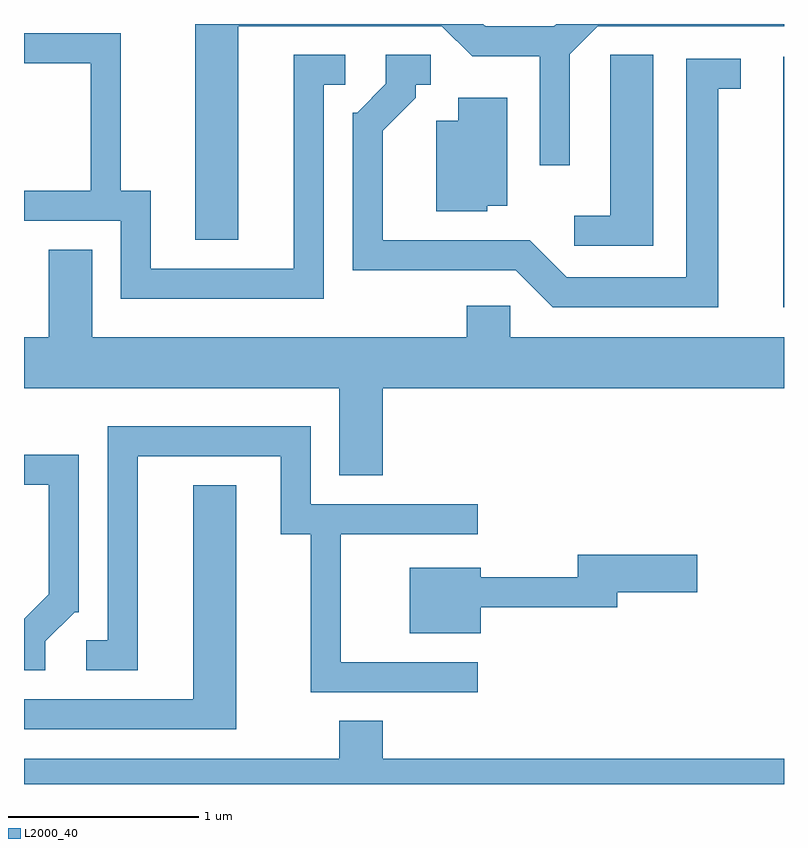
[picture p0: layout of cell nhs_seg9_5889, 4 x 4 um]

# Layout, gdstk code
import gdstk
lib = gdstk.Library(unit=1e-6, precision=1e-09)
def R(c, l, rs):  # rectangles x0, y0, x1, y1
    for r in rs: c.add(gdstk.rectangle(r[:2], r[2:], *l))
def P(c, l, *ps):  # polygons
    for p in ps: c.add(gdstk.Polygon(p, *l))
L2000_40 = (2000, 40)

nhs_seg9_5889 = lib.new_cell('nhs_seg9_5889')
R(nhs_seg9_5889, L2000_40, [(363.606,1958.941,363.611,1960.259)])
P(nhs_seg9_5889, L2000_40, [(360.739,1960.421),(361.809,1960.421),(361.969,1960.261),(362.326,1960.261),(362.326,1959.688),(362.484,1959.688),(362.484,1960.274),(362.632,1960.421),(363.611,1960.421),(363.611,1960.432),(362.412,1960.432),(362.399,1960.419),(362.042,1960.419),(362.029,1960.432),(360.511,1960.432),(360.511,1959.296),(360.739,1959.296)],
  [(361.189,1960.111),(361.303,1960.111),(361.303,1960.269),(361.031,1960.269),(361.031,1959.144),(360.279,1959.144),(360.279,1959.554),(360.119,1959.554),(360.119,1960.384),(359.611,1960.384),(359.611,1960.226),(359.961,1960.226),(359.961,1959.554),(359.611,1959.554),(359.611,1959.396),(360.121,1959.396),(360.121,1958.986),(361.189,1958.986)],
  [(363.264,1960.091),(363.383,1960.091),(363.383,1960.249),(363.096,1960.249),(363.096,1959.099),(362.467,1959.099),(362.272,1959.294),(361.499,1959.294),(361.499,1959.869),(361.674,1960.044),(361.674,1960.111),(361.753,1960.111),(361.753,1960.269),(361.516,1960.269),(361.516,1960.117),(361.364,1959.964),(361.341,1959.964),(361.341,1959.136),(362.199,1959.136),(362.394,1958.941),(363.264,1958.941)],
  [(362.924,1960.269),(362.696,1960.269),(362.696,1959.424),(362.508,1959.424),(362.508,1959.266),(362.924,1959.266)],
  [(362.049,1959.476),(362.154,1959.476),(362.154,1960.044),(361.896,1960.044),(361.896,1959.924),(361.781,1959.924),(361.781,1959.446),(362.049,1959.446)],
  [(361.499,1958.516),(363.611,1958.516),(363.611,1958.784),(362.169,1958.784),(362.169,1958.949),(361.941,1958.949),(361.941,1958.784),(359.969,1958.784),(359.969,1959.244),(359.741,1959.244),(359.741,1958.784),(359.611,1958.784),(359.611,1958.516),(361.271,1958.516),(361.271,1958.056),(361.499,1958.056)],
  [(361.998,1957.074),(361.279,1957.074),(361.279,1957.746),(361.998,1957.746),(361.998,1957.904),(361.119,1957.904),(361.119,1958.314),(360.051,1958.314),(360.051,1957.189),(359.938,1957.189),(359.938,1957.031),(360.209,1957.031),(360.209,1958.156),(360.961,1958.156),(360.961,1957.746),(361.121,1957.746),(361.121,1956.916),(361.998,1956.916)],
  [(359.724,1957.184),(359.877,1957.336),(359.899,1957.336),(359.899,1958.164),(359.611,1958.164),(359.611,1958.006),(359.741,1958.006),(359.741,1957.432),(359.611,1957.302),(359.611,1957.031),(359.724,1957.031)],
  [(360.729,1958.004),(360.501,1958.004),(360.501,1956.879),(359.611,1956.879),(359.611,1956.721),(360.729,1956.721)],
  [(362.014,1957.361),(362.734,1957.361),(362.734,1957.441),(363.154,1957.441),(363.154,1957.639),(362.526,1957.639),(362.526,1957.519),(362.014,1957.519),(362.014,1957.569),(361.641,1957.569),(361.641,1957.226),(362.014,1957.226)],
  [(363.611,1956.564),(361.499,1956.564),(361.499,1956.764),(361.271,1956.764),(361.271,1956.564),(359.611,1956.564),(359.611,1956.432),(363.611,1956.432)])

lib.write_gds('nhs_seg9_5889.gds')
